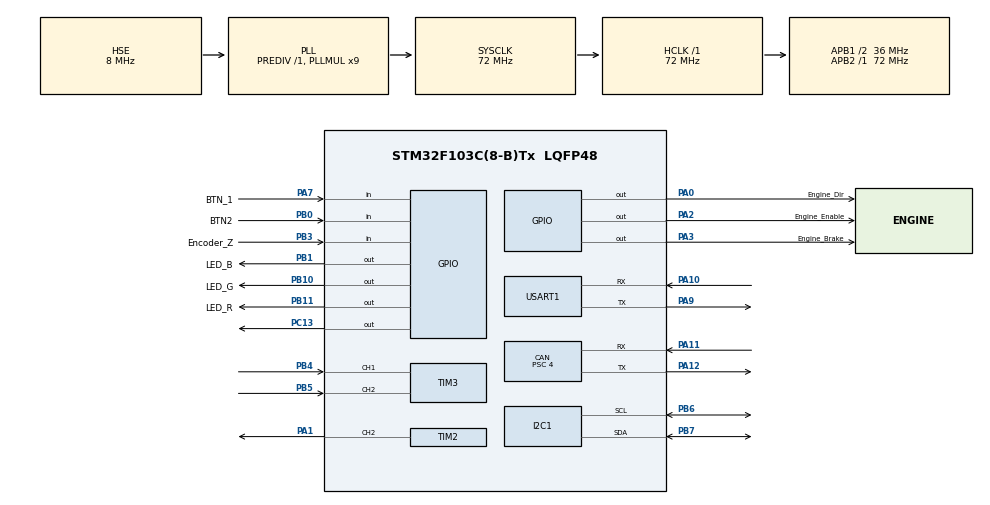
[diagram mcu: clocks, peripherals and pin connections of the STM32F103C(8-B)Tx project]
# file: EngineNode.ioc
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CAN.BS1=CAN_BS1_13TQ
CAN.BS2=CAN_BS2_4TQ
CAN.CalculateBaudRate=500000
CAN.CalculateTimeBit=2000
CAN.CalculateTimeQuantum=111.11111111111111
CAN.NART=DISABLE
CAN.Prescaler=4
CAN.SJW=CAN_SJW_1TQ
CAN.TXFP=ENABLE
Dma.I2C1_RX.2.Direction=DMA_PERIPH_TO_MEMORY
Dma.I2C1_RX.2.Instance=DMA1_Channel7
Dma.I2C1_RX.2.MemDataAlignment=DMA_MDATAALIGN_BYTE
Dma.I2C1_RX.2.MemInc=DMA_MINC_ENABLE
Dma.I2C1_RX.2.Mode=DMA_NORMAL
Dma.I2C1_RX.2.PeriphDataAlignment=DMA_PDATAALIGN_BYTE
Dma.I2C1_RX.2.PeriphInc=DMA_PINC_DISABLE
Dma.I2C1_RX.2.Priority=DMA_PRIORITY_LOW
Dma.I2C1_TX.3.Direction=DMA_MEMORY_TO_PERIPH
Dma.I2C1_TX.3.Instance=DMA1_Channel6
Dma.I2C1_TX.3.MemDataAlignment=DMA_MDATAALIGN_BYTE
Dma.I2C1_TX.3.MemInc=DMA_MINC_ENABLE
Dma.I2C1_TX.3.Mode=DMA_NORMAL
Dma.I2C1_TX.3.PeriphDataAlignment=DMA_PDATAALIGN_BYTE
Dma.I2C1_TX.3.PeriphInc=DMA_PINC_DISABLE
Dma.I2C1_TX.3.Priority=DMA_PRIORITY_LOW
Dma.MEMTOMEM.4.Direction=DMA_MEMORY_TO_MEMORY
Dma.MEMTOMEM.4.Instance=DMA1_Channel1
Dma.MEMTOMEM.4.MemDataAlignment=DMA_MDATAALIGN_BYTE
Dma.MEMTOMEM.4.MemInc=DMA_MINC_ENABLE
Dma.MEMTOMEM.4.Mode=DMA_NORMAL
Dma.MEMTOMEM.4.PeriphDataAlignment=DMA_PDATAALIGN_BYTE
Dma.MEMTOMEM.4.PeriphInc=DMA_PINC_ENABLE
Dma.MEMTOMEM.4.Priority=DMA_PRIORITY_LOW
Dma.Request0=USART1_RX
Dma.Request1=USART1_TX
Dma.Request2=I2C1_RX
Dma.Request3=I2C1_TX
Dma.Request4=MEMTOMEM
Dma.USART1_RX.0.Direction=DMA_PERIPH_TO_MEMORY
Dma.USART1_RX.0.Instance=DMA1_Channel5
Dma.USART1_RX.0.MemDataAlignment=DMA_MDATAALIGN_BYTE
Dma.USART1_RX.0.MemInc=DMA_MINC_ENABLE
Dma.USART1_RX.0.Mode=DMA_NORMAL
Dma.USART1_RX.0.PeriphDataAlignment=DMA_PDATAALIGN_BYTE
Dma.USART1_RX.0.PeriphInc=DMA_PINC_DISABLE
Dma.USART1_RX.0.Priority=DMA_PRIORITY_LOW
Dma.USART1_TX.1.Direction=DMA_MEMORY_TO_PERIPH
Dma.USART1_TX.1.Instance=DMA1_Channel4
Dma.USART1_TX.1.MemDataAlignment=DMA_MDATAALIGN_BYTE
Dma.USART1_TX.1.MemInc=DMA_MINC_ENABLE
Dma.USART1_TX.1.Mode=DMA_NORMAL
Dma.USART1_TX.1.PeriphDataAlignment=DMA_PDATAALIGN_BYTE
Dma.USART1_TX.1.PeriphInc=DMA_PINC_DISABLE
Dma.USART1_TX.1.Priority=DMA_PRIORITY_LOW
FREERTOS.INCLUDE_xEventGroupSetBitFromISR=1
FREERTOS.Tasks01=tDefault,52,200,StartDefaultTask,Default,NULL,Dynamic,NULL,NULL
FREERTOS.configENABLE_BACKWARD_COMPATIBILITY=0
FREERTOS.configMAX_TASK_NAME_LEN=12
FREERTOS.configMINIMAL_STACK_SIZE=64
FREERTOS.configTIMER_TASK_STACK_DEPTH=64
FREERTOS.configTOTAL_HEAP_SIZE=8192
FREERTOS.configUSE_NEWLIB_REENTRANT=1
FREERTOS.configUSE_TRACE_FACILITY=1
I2C1.I2C_Mode=I2C_Fast
Mcu.Family=STM32F1
Mcu.Name=STM32F103C(8-B)Tx
Mcu.Package=LQFP48
NVIC.CAN1_RX1_IRQn=true\:5\:0\:false\:false\:true\:true\:true\:true\:true
NVIC.CAN1_SCE_IRQn=true\:5\:0\:false\:false\:true\:true\:true\:true\:true
NVIC.DMA1_Channel4_IRQn=true\:5\:0\:false\:false\:true\:true\:false\:true\:true
NVIC.DMA1_Channel5_IRQn=true\:5\:0\:false\:false\:true\:true\:false\:true\:true
NVIC.DMA1_Channel6_IRQn=true\:5\:0\:false\:false\:true\:true\:false\:true\:true
NVIC.DMA1_Channel7_IRQn=true\:5\:0\:false\:false\:true\:true\:false\:true\:true
NVIC.I2C1_EV_IRQn=true\:5\:0\:false\:false\:true\:true\:true\:true\:true
NVIC.PriorityGroup=NVIC_PRIORITYGROUP_4
NVIC.TIM4_IRQn=true\:15\:0\:false\:false\:true\:false\:false\:true\:true
NVIC.TimeBase=TIM4_IRQn
NVIC.TimeBaseIP=TIM4
NVIC.USB_HP_CAN1_TX_IRQn=true\:5\:0\:true\:false\:true\:true\:true\:true\:true
NVIC.USB_LP_CAN1_RX0_IRQn=true\:5\:0\:false\:false\:true\:true\:true\:true\:true
PA0-WKUP.GPIO_Label=Engine_Dir
PA0-WKUP.Signal=GPIO_Output
PA1.Signal=S_TIM2_CH2
PA10.Mode=Asynchronous
PA10.Signal=USART1_RX
PA11.Mode=CAN_Activate
PA11.Signal=CAN_RX
PA12.Mode=CAN_Activate
PA12.Signal=CAN_TX
PA13.Mode=Serial_Wire
PA13.Signal=SYS_JTMS-SWDIO
PA14.Mode=Serial_Wire
PA14.Signal=SYS_JTCK-SWCLK
PA2.GPIO_Label=Engine_Enable
PA2.Signal=GPIO_Output
PA3.GPIO_Label=Engine_Brake
PA3.Signal=GPIO_Output
PA7.GPIO_Label=BTN_1
PA7.Signal=GPIO_Input
PA9.Mode=Asynchronous
PA9.Signal=USART1_TX
PB0.GPIO_Label=BTN2
PB0.Signal=GPIO_Input
PB1.GPIO_Label=LED_B
PB1.PinState=GPIO_PIN_SET
PB1.Signal=GPIO_Output
PB10.GPIO_Label=LED_G
PB10.PinState=GPIO_PIN_SET
PB10.Signal=GPIO_Output
PB11.GPIO_Label=LED_R
PB11.PinState=GPIO_PIN_SET
PB11.Signal=GPIO_Output
PB3.GPIO_Label=Encoder_Z
PB3.Signal=GPIO_Input
PB4.Signal=S_TIM3_CH1
PB5.Signal=S_TIM3_CH2
PB6.Mode=I2C
PB6.Signal=I2C1_SCL
PB7.Mode=I2C
PB7.Signal=I2C1_SDA
PC13-TAMPER-RTC.Signal=GPIO_Output
PD0-OSC_IN.Mode=HSE-External-Oscillator
PD0-OSC_IN.Signal=RCC_OSC_IN
PD1-OSC_OUT.Mode=HSE-External-Oscillator
PD1-OSC_OUT.Signal=RCC_OSC_OUT
ProjectManager.HeapSize=0x200
ProjectManager.StackSize=0x400
ProjectManager.TargetToolchain=STM32CubeIDE
RCC.AHBFreq_Value=72000000
RCC.APB1CLKDivider=RCC_HCLK_DIV2
RCC.APB1Freq_Value=36000000
RCC.APB1TimFreq_Value=72000000
RCC.APB2Freq_Value=72000000
RCC.APB2TimFreq_Value=72000000
RCC.HCLKFreq_Value=72000000
RCC.PLLMUL=RCC_PLL_MUL9
RCC.PLLSourceVirtual=RCC_PLLSOURCE_HSE
RCC.SYSCLKFreq_VALUE=72000000
RCC.SYSCLKSource=RCC_SYSCLKSOURCE_PLLCLK
RCC.USBFreq_Value=72000000
SH.S_TIM2_CH2.0=TIM2_CH2,PWM Generation2 CH2
SH.S_TIM3_CH1.0=TIM3_CH1,Encoder_Interface
SH.S_TIM3_CH2.0=TIM3_CH2,Encoder_Interface
TIM2.Channel-PWM\ Generation2\ CH2=TIM_CHANNEL_2
TIM3.EncoderMode=TIM_ENCODERMODE_TI12
USART1.VirtualMode=VM_ASYNC
VP_FREERTOS_VS_CMSIS_V2.Mode=CMSIS_V2
VP_SYS_VS_tim4.Mode=TIM4
board=custom

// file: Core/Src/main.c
/* USER CODE BEGIN Header */
/**
 ******************************************************************************
 * @file           : main.c
 * @brief          : Main program body
 ******************************************************************************
 * @attention
 *
 * Copyright (c) 2023 STMicroelectronics.
 * All rights reserved.
 *
 * This software is licensed under terms that can be found in the LICENSE file
 * in the root directory of this software component.
 * If no LICENSE file comes with this software, it is provided AS-IS.
 *
 ******************************************************************************
 */
/* USER CODE END Header */
#include "main.h"
#include "cmsis_os.h"

/* USER CODE BEGIN Includes */
#include "SyncPrintf/SyncPrintf.h"
#include "GPIO/GPIOHandler.h"
#include "UARTHandler/UART_Handler.h"
#include "I2CHandler/I2C_Handler.h"
#include "CANHandler/CANHandler.h"
#include "INA219/INA219.h"
#include "BNO055/bno055.h"
#include "CANFrame/CANFrame.h"
#include "PowerPublisher/PowerPublisher.h"
#include "EngineControl/EngineControl.h"
#include "Encoder/Encoder.h"
#include "MotorController/SpeedController.h"
#include "IMUPublisher/IMUPublisher.h"
#include "DataProcess/DataProcess.h"
//#include "CAN_OSI.h"
/* USER CODE END Includes */

CAN_HandleTypeDef hcan;

I2C_HandleTypeDef hi2c1;
DMA_HandleTypeDef hdma_i2c1_rx;
DMA_HandleTypeDef hdma_i2c1_tx;

TIM_HandleTypeDef htim2;
TIM_HandleTypeDef htim3;

UART_HandleTypeDef huart1;
DMA_HandleTypeDef hdma_usart1_rx;
DMA_HandleTypeDef hdma_usart1_tx;

DMA_HandleTypeDef hdma_memtomem_dma1_channel1;
/* Definitions for tDefault */
osThreadId_t tDefaultHandle;
const osThreadAttr_t tDefault_attributes = { .name = "tDefault", .stack_size =
		200 * 4, .priority = (osPriority_t) osPriorityRealtime4, };
/* USER CODE BEGIN PV */

osThreadId_t TestTaskHandle;
const osThreadAttr_t TestTask_attributes = { .name = "TestTask", .stack_size =
		200 * 4, .priority = (osPriority_t) osPriorityNormal2, };

GPIO_HandlerStruct Blinker = { .Port = GPIOC, .Pin = GPIO_PIN_13 };
GPIO_HandlerStruct BrakePin = { .Port = Engine_Brake_GPIO_Port, .Pin =
Engine_Brake_Pin };
GPIO_HandlerStruct GasEnPin = { .Port = Engine_Enable_GPIO_Port, .Pin =
Engine_Enable_Pin };
GPIO_HandlerStruct DirPin = { .Port = Engine_Dir_GPIO_Port, .Pin =
Engine_Dir_Pin };

I2C_OS_HandlerStruct mainI2C;
INA219_t INA219_main;
BNO055_HandlerStruct imuBNO055;

CAN_OS_HandlerStruct CANmain;
CANFrame_HandlerStruct CANFrame_Handler;

Encoder_HandlerStruct Encoder;
Engine_HandlerStruct Engine;
SpeedControler_HandlerStruct SpeedController;

PowerPublisher_HandlerStruct PowerPub;
//float Speed = 0;
IMUPublisher_HandlerStruct IMUPub;
uint8_t Break = 0;

float curSpeed = 0;
//float Speed = 0;
/* USER CODE END PV */

void SystemClock_Config(void);
static void MX_GPIO_Init(void);
static void MX_DMA_Init(void);
static void MX_CAN_Init(void);
static void MX_I2C1_Init(void);
static void MX_TIM2_Init(void);
static void MX_TIM3_Init(void);
static void MX_USART1_UART_Init(void);
void StartDefaultTask(void *argument);

/* USER CODE BEGIN PFP */
void TestTask(void *argument);

void CAN_TxCallback(CAN_HandleTypeDef *hcan);
void CAN_RxFifo0Callback(CAN_HandleTypeDef *hcan);

/* USER CODE END PFP */

int main(void) {

	/* MCU Configuration--------------------------------------------------------*/

	/* Reset of all peripherals, Initializes the Flash interface and the Systick. */
	HAL_Init();

	/* Configure the system clock */
	SystemClock_Config();

	/* Initialize all configured peripherals */
	MX_GPIO_Init();
	MX_DMA_Init();
	MX_CAN_Init();
	MX_I2C1_Init();
	MX_TIM2_Init();
	MX_TIM3_Init();
	MX_USART1_UART_Init();
	/* USER CODE BEGIN 2 */
//  HAL_GPIO_WritePin(Engine_Brake_GPIO_Port, Engine_Brake_Pin, 0);
//  HAL_GPIO_WritePin(Engine_Brake_GPIO_Port, Engine_Brake_Pin, 1);
	/* USER CODE END 2 */

	/* Init scheduler */
	osKernelInitialize();

	/* Create the thread(s) */
	/* creation of tDefault */
	tDefaultHandle = osThreadNew(StartDefaultTask, NULL, &tDefault_attributes);
//  MX_FREERTOS_Init();

	/* USER CODE BEGIN RTOS_EVENTS */
	/* add events, ... */
	SyncPrintf_Init();

	/* USER CODE END RTOS_EVENTS */

	/* Start scheduler */
	osKernelStart();

	/* We should never get here as control is now taken by the scheduler */
	/* Infinite loop */
	while (1) {

	}
}

void SystemClock_Config(void) {
	RCC_OscInitTypeDef RCC_OscInitStruct = { 0 };
	RCC_ClkInitTypeDef RCC_ClkInitStruct = { 0 };

	/** Initializes the RCC Oscillators according to the specified parameters
	 * in the RCC_OscInitTypeDef structure.
	 */
	RCC_OscInitStruct.OscillatorType = RCC_OSCILLATORTYPE_HSE;
	RCC_OscInitStruct.HSEState = RCC_HSE_ON;
	RCC_OscInitStruct.HSEPredivValue = RCC_HSE_PREDIV_DIV1;
	RCC_OscInitStruct.HSIState = RCC_HSI_ON;
	RCC_OscInitStruct.PLL.PLLState = RCC_PLL_ON;
	RCC_OscInitStruct.PLL.PLLSource = RCC_PLLSOURCE_HSE;
	RCC_OscInitStruct.PLL.PLLMUL = RCC_PLL_MUL9;
	if (HAL_RCC_OscConfig(&RCC_OscInitStruct) != HAL_OK) {
		Error_Handler();
	}

	/** Initializes the CPU, AHB and APB buses clocks
	 */
	RCC_ClkInitStruct.ClockType = RCC_CLOCKTYPE_HCLK | RCC_CLOCKTYPE_SYSCLK
			| RCC_CLOCKTYPE_PCLK1 | RCC_CLOCKTYPE_PCLK2;
	RCC_ClkInitStruct.SYSCLKSource = RCC_SYSCLKSOURCE_PLLCLK;
	RCC_ClkInitStruct.AHBCLKDivider = RCC_SYSCLK_DIV1;
	RCC_ClkInitStruct.APB1CLKDivider = RCC_HCLK_DIV2;
	RCC_ClkInitStruct.APB2CLKDivider = RCC_HCLK_DIV1;

	if (HAL_RCC_ClockConfig(&RCC_ClkInitStruct, FLASH_LATENCY_2) != HAL_OK) {
		Error_Handler();
	}
}

static void MX_CAN_Init(void) {

	hcan.Instance = CAN1;
	hcan.Init.Prescaler = 4;
	hcan.Init.Mode = CAN_MODE_NORMAL;
	hcan.Init.SyncJumpWidth = CAN_SJW_1TQ;
	hcan.Init.TimeSeg1 = CAN_BS1_13TQ;
	hcan.Init.TimeSeg2 = CAN_BS2_4TQ;
	hcan.Init.TimeTriggeredMode = DISABLE;
	hcan.Init.AutoBusOff = DISABLE;
	hcan.Init.AutoWakeUp = DISABLE;
	hcan.Init.AutoRetransmission = DISABLE;
	hcan.Init.ReceiveFifoLocked = DISABLE;
	hcan.Init.TransmitFifoPriority = ENABLE;
	if (HAL_CAN_Init(&hcan) != HAL_OK) {
		Error_Handler();
	}

}

static void MX_I2C1_Init(void) {

	hi2c1.Instance = I2C1;
	hi2c1.Init.ClockSpeed = 400000;
	hi2c1.Init.DutyCycle = I2C_DUTYCYCLE_2;
	hi2c1.Init.OwnAddress1 = 0;
	hi2c1.Init.AddressingMode = I2C_ADDRESSINGMODE_7BIT;
	hi2c1.Init.DualAddressMode = I2C_DUALADDRESS_DISABLE;
	hi2c1.Init.OwnAddress2 = 0;
	hi2c1.Init.GeneralCallMode = I2C_GENERALCALL_DISABLE;
	hi2c1.Init.NoStretchMode = I2C_NOSTRETCH_DISABLE;
	if (HAL_I2C_Init(&hi2c1) != HAL_OK) {
		Error_Handler();
	}

}

static void MX_TIM2_Init(void) {

	TIM_MasterConfigTypeDef sMasterConfig = { 0 };
	TIM_OC_InitTypeDef sConfigOC = { 0 };

	htim2.Instance = TIM2;
	htim2.Init.Prescaler = 0;
	htim2.Init.CounterMode = TIM_COUNTERMODE_UP;
	htim2.Init.Period = 65535;
	htim2.Init.ClockDivision = TIM_CLOCKDIVISION_DIV1;
	htim2.Init.AutoReloadPreload = TIM_AUTORELOAD_PRELOAD_DISABLE;
	if (HAL_TIM_PWM_Init(&htim2) != HAL_OK) {
		Error_Handler();
	}
	sMasterConfig.MasterOutputTrigger = TIM_TRGO_RESET;
	sMasterConfig.MasterSlaveMode = TIM_MASTERSLAVEMODE_DISABLE;
	if (HAL_TIMEx_MasterConfigSynchronization(&htim2, &sMasterConfig)
			!= HAL_OK) {
		Error_Handler();
	}
	sConfigOC.OCMode = TIM_OCMODE_PWM1;
	sConfigOC.Pulse = 0;
	sConfigOC.OCPolarity = TIM_OCPOLARITY_HIGH;
	sConfigOC.OCFastMode = TIM_OCFAST_DISABLE;
	if (HAL_TIM_PWM_ConfigChannel(&htim2, &sConfigOC, TIM_CHANNEL_2)
			!= HAL_OK) {
		Error_Handler();
	}
	HAL_TIM_MspPostInit(&htim2);

}

static void MX_TIM3_Init(void) {

	TIM_Encoder_InitTypeDef sConfig = { 0 };
	TIM_MasterConfigTypeDef sMasterConfig = { 0 };

	htim3.Instance = TIM3;
	htim3.Init.Prescaler = 0;
	htim3.Init.CounterMode = TIM_COUNTERMODE_UP;
	htim3.Init.Period = 65535;
	htim3.Init.ClockDivision = TIM_CLOCKDIVISION_DIV1;
	htim3.Init.AutoReloadPreload = TIM_AUTORELOAD_PRELOAD_DISABLE;
	sConfig.EncoderMode = TIM_ENCODERMODE_TI12;
	sConfig.IC1Polarity = TIM_ICPOLARITY_RISING;
	sConfig.IC1Selection = TIM_ICSELECTION_DIRECTTI;
	sConfig.IC1Prescaler = TIM_ICPSC_DIV1;
	sConfig.IC1Filter = 0;
	sConfig.IC2Polarity = TIM_ICPOLARITY_RISING;
	sConfig.IC2Selection = TIM_ICSELECTION_DIRECTTI;
	sConfig.IC2Prescaler = TIM_ICPSC_DIV1;
	sConfig.IC2Filter = 0;
	if (HAL_TIM_Encoder_Init(&htim3, &sConfig) != HAL_OK) {
		Error_Handler();
	}
	sMasterConfig.MasterOutputTrigger = TIM_TRGO_RESET;
	sMasterConfig.MasterSlaveMode = TIM_MASTERSLAVEMODE_DISABLE;
	if (HAL_TIMEx_MasterConfigSynchronization(&htim3, &sMasterConfig)
			!= HAL_OK) {
		Error_Handler();
	}

}

static void MX_USART1_UART_Init(void) {

	huart1.Instance = USART1;
	huart1.Init.BaudRate = 115200;
	huart1.Init.WordLength = UART_WORDLENGTH_8B;
	huart1.Init.StopBits = UART_STOPBITS_1;
	huart1.Init.Parity = UART_PARITY_NONE;
	huart1.Init.Mode = UART_MODE_TX_RX;
	huart1.Init.HwFlowCtl = UART_HWCONTROL_NONE;
	huart1.Init.OverSampling = UART_OVERSAMPLING_16;
	if (HAL_UART_Init(&huart1) != HAL_OK) {
		Error_Handler();
	}

}

static void MX_DMA_Init(void) {

	/* DMA controller clock enable */
	__HAL_RCC_DMA1_CLK_ENABLE();

	/* Configure DMA request hdma_memtomem_dma1_channel1 on DMA1_Channel1 */
	hdma_memtomem_dma1_channel1.Instance = DMA1_Channel1;
	hdma_memtomem_dma1_channel1.Init.Direction = DMA_MEMORY_TO_MEMORY;
	hdma_memtomem_dma1_channel1.Init.PeriphInc = DMA_PINC_ENABLE;
	hdma_memtomem_dma1_channel1.Init.MemInc = DMA_MINC_ENABLE;
	hdma_memtomem_dma1_channel1.Init.PeriphDataAlignment = DMA_PDATAALIGN_BYTE;
	hdma_memtomem_dma1_channel1.Init.MemDataAlignment = DMA_MDATAALIGN_BYTE;
	hdma_memtomem_dma1_channel1.Init.Mode = DMA_NORMAL;
	hdma_memtomem_dma1_channel1.Init.Priority = DMA_PRIORITY_LOW;
	if (HAL_DMA_Init(&hdma_memtomem_dma1_channel1) != HAL_OK) {
		Error_Handler();
	}

	/* DMA interrupt init */
	/* DMA1_Channel4_IRQn interrupt configuration */
	HAL_NVIC_SetPriority(DMA1_Channel4_IRQn, 5, 0);
	HAL_NVIC_EnableIRQ(DMA1_Channel4_IRQn);
	/* DMA1_Channel5_IRQn interrupt configuration */
	HAL_NVIC_SetPriority(DMA1_Channel5_IRQn, 5, 0);
	HAL_NVIC_EnableIRQ(DMA1_Channel5_IRQn);
	/* DMA1_Channel6_IRQn interrupt configuration */
	HAL_NVIC_SetPriority(DMA1_Channel6_IRQn, 5, 0);
	HAL_NVIC_EnableIRQ(DMA1_Channel6_IRQn);
	/* DMA1_Channel7_IRQn interrupt configuration */
	HAL_NVIC_SetPriority(DMA1_Channel7_IRQn, 5, 0);
	HAL_NVIC_EnableIRQ(DMA1_Channel7_IRQn);

}

static void MX_GPIO_Init(void) {
	GPIO_InitTypeDef GPIO_InitStruct = { 0 };

	/* GPIO Ports Clock Enable */
	__HAL_RCC_GPIOC_CLK_ENABLE();
	__HAL_RCC_GPIOD_CLK_ENABLE();
	__HAL_RCC_GPIOA_CLK_ENABLE();
	__HAL_RCC_GPIOB_CLK_ENABLE();

	/*Configure GPIO pin Output Level */
	HAL_GPIO_WritePin(GPIOC, GPIO_PIN_13, GPIO_PIN_RESET);

	/*Configure GPIO pin Output Level */
	HAL_GPIO_WritePin(GPIOA,
			Engine_Dir_Pin | Engine_Enable_Pin | Engine_Brake_Pin,
			GPIO_PIN_RESET);

	/*Configure GPIO pin Output Level */
	HAL_GPIO_WritePin(GPIOB, LED_B_Pin | LED_G_Pin | LED_R_Pin, GPIO_PIN_SET);

	/*Configure GPIO pin : PC13 */
	GPIO_InitStruct.Pin = GPIO_PIN_13;
	GPIO_InitStruct.Mode = GPIO_MODE_OUTPUT_PP;
	GPIO_InitStruct.Pull = GPIO_NOPULL;
	GPIO_InitStruct.Speed = GPIO_SPEED_FREQ_LOW;
	HAL_GPIO_Init(GPIOC, &GPIO_InitStruct);

	/*Configure GPIO pins : Engine_Dir_Pin Engine_Enable_Pin Engine_Brake_Pin */
	GPIO_InitStruct.Pin = Engine_Dir_Pin | Engine_Enable_Pin | Engine_Brake_Pin;
	GPIO_InitStruct.Mode = GPIO_MODE_OUTPUT_PP;
	GPIO_InitStruct.Pull = GPIO_NOPULL;
	GPIO_InitStruct.Speed = GPIO_SPEED_FREQ_LOW;
	HAL_GPIO_Init(GPIOA, &GPIO_InitStruct);

	/*Configure GPIO pin : BTN_1_Pin */
	GPIO_InitStruct.Pin = BTN_1_Pin;
	GPIO_InitStruct.Mode = GPIO_MODE_INPUT;
	GPIO_InitStruct.Pull = GPIO_NOPULL;
	HAL_GPIO_Init(BTN_1_GPIO_Port, &GPIO_InitStruct);

	/*Configure GPIO pins : BTN2_Pin Encoder_Z_Pin */
	GPIO_InitStruct.Pin = BTN2_Pin | Encoder_Z_Pin;
	GPIO_InitStruct.Mode = GPIO_MODE_INPUT;
	GPIO_InitStruct.Pull = GPIO_NOPULL;
	HAL_GPIO_Init(GPIOB, &GPIO_InitStruct);

	/*Configure GPIO pins : LED_B_Pin LED_G_Pin LED_R_Pin */
	GPIO_InitStruct.Pin = LED_B_Pin | LED_G_Pin | LED_R_Pin;
	GPIO_InitStruct.Mode = GPIO_MODE_OUTPUT_PP;
	GPIO_InitStruct.Pull = GPIO_NOPULL;
	GPIO_InitStruct.Speed = GPIO_SPEED_FREQ_LOW;
	HAL_GPIO_Init(GPIOB, &GPIO_InitStruct);

}

/* USER CODE BEGIN 4 */

void HAL_I2C_MemRxCpltCallback(I2C_HandleTypeDef *hi2c) {
	if (mainI2C.hi2c == hi2c) {
		I2C_OS_MEM_RxCpltCB(&mainI2C);
	}
}
void HAL_I2C_MemTxCpltCallback(I2C_HandleTypeDef *hi2c) {
	if (mainI2C.hi2c == hi2c) {
		I2C_OS_MEM_TxCpltCB(&mainI2C);
	}
}

void CAN_TxCallback(CAN_HandleTypeDef *hcan) {
	if (CANmain.hcan == hcan) {
		CAN_OS_TxCplt_CB(&CANmain);

	}
}

void CAN_RxFifo0Callback(CAN_HandleTypeDef *hcan) {
	if (CANmain.hcan == hcan) {
		CAN_OS_RxFifo0Cplt_CB(&CANmain);
	}
}

void TestTask(void *argument) {
	while (1) {
		for (int i = 1000; i <= Engine_TIM_MaxPulse; i += 100) {
			Engine_SetSpeed(&Engine, i);
			osDelay(1000);
		}
		for (int i = Engine_TIM_MaxPulse; i >= 1000; i -= 100) {
			Engine_SetSpeed(&Engine, i);
			osDelay(1000);
		}
	}
}

static void CANFrame_RcvDoneHandler(CANFrame_RxHeaderTypedef *CANFrame_RxHeader,
		uint8_t *str) {
	uint8_t strLen = CANFrame_RxHeader->DataLen;
	uint8_t ID;
	char Data[50];
	float Speed;
	int res = 0;
	if (str[0] != '#' || str[strLen - 2] != '\r' || str[strLen - 1] != '\n') {
		return;
	}
	if (str[strLen - 3] == '!') {
		SpeedController_Start(&SpeedController, 0);
		Engine_SetSpeed(&Engine, 0);
		return;
	}

	if (DataPack_Split((char*) str, &ID, Data) != 0) {
		return;
	}

	switch (ID) {
	case 1:
		res = DataPack_GetSpeed(Data, &Speed);
		if (res != 0)
			return;
//		Engine_SetSpeed(&Engine, Speed * Engine_TIM_MaxPulse / 100);
		if (Speed == 0) {
			SpeedController_SetSpeed(&SpeedController, 0);
			SpeedController_Start(&SpeedController, 0);
			Engine_Brake(&Engine, ENGINE_BRAKE_SET);
		}
		if (Speed == SpeedController.SetPoint)
			return;
		if (Speed > 0) {
			SpeedController_SetSpeed(&SpeedController, Speed);
			if (SpeedController.isEnable == 0)
				SpeedController_Start(&SpeedController, 1);
		} else {
//			SpeedController_SetSpeed(&SpeedController, 0);
			SpeedController_Start(&SpeedController, 0);
			Engine_SetSpeed(&Engine, Speed * 4 * Engine_TIM_MaxPulse / 100);
		}
		HAL_GPIO_TogglePin(LED_B_GPIO_Port, LED_B_Pin);
		break;
	default:
		break;
	}
}
/* USER CODE END 4 */

void StartDefaultTask(void *argument) {
	/* USER CODE BEGIN 5 */

	I2C_OS_Init(&mainI2C, &hi2c1);
	CAN_OS_Init(&CANmain, &hcan);
	CAN_OS_RegisterCB(&CANmain, CAN_OS_ActivateTxCB_ID, CAN_TxCallback);
	CAN_OS_RegisterCB(&CANmain, CAN_OS_ActivateRxFifo0_ID, CAN_RxFifo0Callback);

	INA219_Init(&INA219_main, &mainI2C, INA219_ADDRESS_Default);
	CANFrame_Init(&CANFrame_Handler, &CANmain, CANFRAME_ENGINE_CONTROL_ID,
	CAN_FILTER_FIFO0);
	CANFrame_RegCB(&CANFrame_Handler, CANFRAME_RCVCPLT_CB_ID,
			CANFrame_RcvDoneHandler);
//	PowerPublisher_Init(&PowerPub, &INA219_main, &CANFrame_Handler, 50);
//	BNO055_Init(&imuBNO055, &mainI2C, BNO055_I2C_ADDR_HI);

	Encoder_Init(&Encoder, &htim3, 0.3, 10);
	Engine_Init(&Engine, -7200, 7200);
	Engine_ConfigTimer(&Engine, &htim2, TIM_CHANNEL_2);
	Engine_ConfigControlPin(&Engine, BrakePin, DirPin, GasEnPin);

	SpeedController_Init(&SpeedController, &Encoder, &Engine, 50);
	HAL_GPIO_TogglePin(LED_B_GPIO_Port, LED_B_Pin);
//	IMUPublisher_Init(&IMUPub, &imuBNO055, &CANFrame_Handler, 10);
//	IMUPublisher_EnablePub(&IMUPub, IMUPUBLISHER_PUB_EULER);\
//	IMUPublisher_Start(&IMUPub, 1);
	Encoder.EnCntTraveled = 1;
	Encoder.PulsePerMeter = 2927 * 2;
	SpeedController.PulsePerMeter = 2927 * 2;
	Encoder_Start(&Encoder, 1);
	SpeedController_SetTunings(&SpeedController, 180.0, 1.0, 35.0);
	SpeedController_Start(&SpeedController, 1);
	CAN_OS_Start(&CANmain);
//	PowerPublisher_Start(&PowerPub, 1);
//	SpeedController_SetSpeed(&SpeedController, 0.3);

	SyncPrintf("####### Engine I AM AWAKE ##### \r\n");
//	SpeedController_SetSpeed(&SpeedController, 5);
//	Engine_SetSpeed(&Engine, 100);
//	TestTaskHandle = osThreadNew(TestTask, NULL, &TestTask_attributes);
	osThreadSetPriority(tDefaultHandle, osPriorityBelowNormal);
//	Speed = 10;
	/* Infinite loop */
	for (;;) {
		GPIO_TogglePin(Blinker);
//		SpeedController_SetSpeed(&SpeedController, Speed);
		curSpeed = Encoder_GetSpeed_MPS(&Encoder);
//		Engine_SetSpeed(&Engine, 0);
//		Engine_SetSpeed(&Engine, -80 * Engine_TIM_MaxPulse / 100);
//		SpeedController_SetSpeed(&SpeedController, Speed);
//		Speed = -Speed;
//		Speed = Encoder_GetSpeed_MPS(&Encoder);

//		if (Break == 0) {
//			Engine_Brake(&Engine, ENGINE_BRAKE_CLEAR);
//		}
//		else {
//			Engine_Brake(&Engine, ENGINE_BRAKE_SET);
//		}
//		HAL_GPIO_WritePin(GasEnPin, , PinState)
//		GPIO_WritePin(GasEnPin, 1);
//		GPIO_WritePin(BrakePin, 1);
//		GPIO_WritePin(DirPin, 1);
//		GPIO_WritePin(GasEnPin, 0);
//		GPIO_WritePin(BrakePin, 0);
//		GPIO_WritePin(DirPin, 0);

		osDelay(500);
	}
	/* USER CODE END 5 */
}

void HAL_TIM_PeriodElapsedCallback(TIM_HandleTypeDef *htim) {
	if (htim->Instance == TIM4) {
		HAL_IncTick();
	}
}

void Error_Handler(void) {
	__disable_irq();
	while (1) {
	}
}

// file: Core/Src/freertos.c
/* USER CODE BEGIN Header */
/**
 ******************************************************************************
 * File Name          : freertos.c
 * Description        : Code for freertos applications
 ******************************************************************************
 * @attention
 *
 * Copyright (c) 2023 STMicroelectronics.
 * All rights reserved.
 *
 * This software is licensed under terms that can be found in the LICENSE file
 * in the root directory of this software component.
 * If no LICENSE file comes with this software, it is provided AS-IS.
 *
 ******************************************************************************
 */
/* USER CODE END Header */

#include "FreeRTOS.h"
#include "task.h"
#include "main.h"

/* USER CODE BEGIN Includes */
#include "CAN_OSI.h"
#include "MotorController/SpeedController.h"
#include "DataProcess/DataProcess.h"
/* USER CODE END Includes */

/* USER CODE BEGIN PM */
#define NODE_ID				ENGINE_CONTROL
/* USER CODE END PM */

/* USER CODE BEGIN Variables */
extern CAN_HandleTypeDef hcan;
static CANBufferHandleStruct Rx_Buffer;
static FlagFrameHandle Flag;
//static CANConfigIDTxtypedef pIDtype;
FlagRecNotification FlagRec;
uint8_t mess[62] = { 0 };
char Print[100] = { 0 };

osThreadId_t mMainTaskHandle;
const osThreadAttr_t mMainTask_attributes = { .name = "mMainTask", .stack_size =
		256 * 4, .priority = (osPriority_t) osPriorityNormal, };
/* Definitions for mCanRecv */
osThreadId_t mCanRecvHandle;
const osThreadAttr_t mCanRecv_attributes = { .name = "mCanRecv", .stack_size =
		256 * 4, .priority = (osPriority_t) osPriorityLow, };
/* Definitions for myDataProcessin */
osThreadId_t myDataProcessinHandle;
const osThreadAttr_t myDataProcessin_attributes = { .name = "myDataProcessin",
		.stack_size = 128 * 4, .priority = (osPriority_t) osPriorityHigh, };

extern SpeedControler_HandlerStruct SpeedController;
/* USER CODE END Variables */

/* USER CODE BEGIN FunctionPrototypes */
void MainTask(void *argument);
void CanRecv(void *argument);
void DataProcessing(void *argument);

//void MX_FREERTOS_Init(void);

/* USER CODE END FunctionPrototypes */

/* USER CODE BEGIN Application */
void CAN_ProcessMsg(CANBufferHandleStruct *AppBuffer, uint8_t *str) {
	uint8_t strLen = AppBuffer->NodeHandle[AppBuffer->RecvID].PacketLength - 2;
	uint8_t ID;
	char Data[50];
	float Speed;
	int res = 0;
	if (str[0] != '#' || str[strLen - 2] != '\r' || str[strLen - 1] != '\n') {
		return;
	}

	if (DataPack_Split((char*) str, &ID, Data) != 0) {
		return;
	}

	switch (ID) {
	case 1:
		res = DataPack_GetSpeed(Data, &Speed);
		if (res != 0)
			return;
//		Engine_SetSpeed(&Engine, Speed * Engine_TIM_MaxPulse / 100);
		SpeedController_SetSpeed(&SpeedController, Speed);
		HAL_GPIO_TogglePin(LED_B_GPIO_Port, LED_B_Pin);
		break;
	default:
		break;
	}
}

void MX_FREERTOS_Init(void) {
	mCanRecvHandle = osThreadNew(CanRecv, NULL, &mCanRecv_attributes);
	myDataProcessinHandle = osThreadNew(DataProcessing, NULL,
			&myDataProcessin_attributes);
}

void CanRecv(void *argument) {
	/* USER CODE BEGIN CanRecv */
	// FlagRecNotification FlagRec;
	/* Infinite loop */
	for (;;) {
		CAN_Receive_Application(&Rx_Buffer, mess, &Flag, &FlagRec);
		osDelay(1);
	}
	/* USER CODE END CanRecv */
}

void DataProcessing(void *argument) {
	/* USER CODE BEGIN DataProcessing */
	/* Infinite loop */
	for (;;) {
		if (FlagRec == REC_SUCCESS) {
//          uint32_t len = sprintf(Print, "Node 2 Rcv: %s\r\n", mess);
//           HAL_UART_Transmit(&huart1,(uint8_t*)Print,len,HAL_MAX_DELAY);
			if (Rx_Buffer.RecvID == NODE_ID)
				CAN_ProcessMsg(&Rx_Buffer, mess);
		}
		osDelay(1);
	}
	/* USER CODE END DataProcessing */
}

/* USER CODE END Application */
